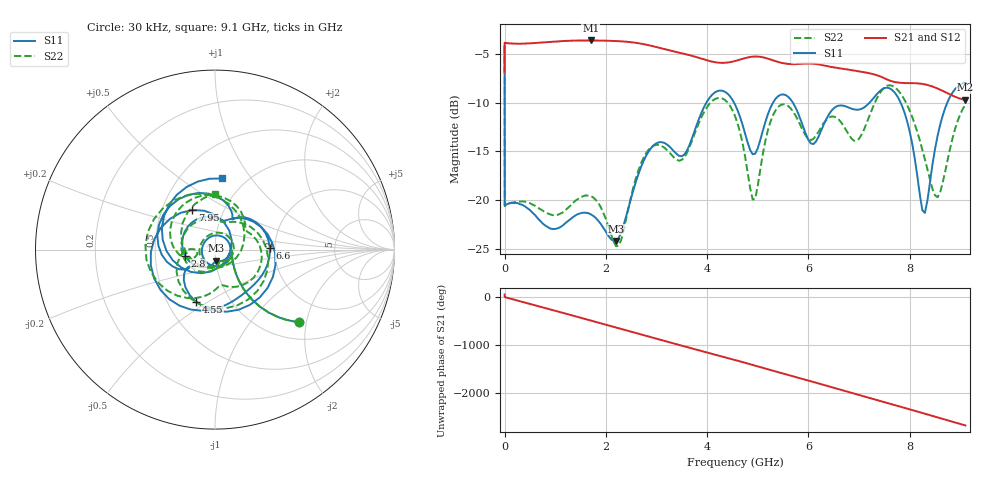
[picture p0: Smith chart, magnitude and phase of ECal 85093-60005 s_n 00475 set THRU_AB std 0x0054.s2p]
!Created with skrf (http://scikit-rf.org).
# Hz S RI R 50.0
!freq ReS11 ImS11 ReS21 ImS21 ReS12 ImS12 ReS22 ImS22
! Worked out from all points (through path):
!   252 points, 30 kHz to 9.1 GHz, reference 50 ohm
!   highest |S21| = -3.62 dB at 1.7 GHz (marker M1); lowest = -9.7 dB at 9.1 GHz (marker M2)
!   group delay of S21, straight-line fit = 818 ps
!   lowest |S11| = -24.2 dB at 2.2 GHz (marker M3), VSWR 1.13, Z = 50 - j6.2 ohm
!   |S11| at or under -10 dB: 79.85 kHz to 3.985 GHz (3.985 GHz wide, 200 % of centre); 5.694 GHz to 7.206 GHz (1.512 GHz wide, 23.4 % of centre); 7.821 GHz to 8.742 GHz (921.7 MHz wide, 11.1 % of centre) (the widest 3 of 4)
!   |S22| runs from -24.7 to -4.2 dB; largest |S21 - S12| = 0.0032
!   S11 on the Smith chart (normalised r, x): 30 kHz: 1.39, -1.81; 2.8 GHz: 0.71, -0.05; 4.55 GHz: 0.69, -0.45; 6.6 GHz: 1.88, +0.04; 7.95 GHz: 0.71, +0.34; 9.1 GHz: 0.78, +0.73
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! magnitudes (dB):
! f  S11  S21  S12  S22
! 30 kHz  -4.2  -6.8  -6.8  -4.2
! 175 kHz  -15.3  -4.0  -4.0  -15.3
! 475 kHz  -19.3  -3.9  -3.9  -19.4
! 3.5 MHz  -20.5  -3.9  -3.9  -20.6
! 1.55 GHz  -21.3  -3.6  -3.6  -19.6
! 1.7 GHz  -21.4  -3.6  -3.6  -19.6
! 2.2 GHz  -24.2  -3.7  -3.7  -24.7
! 2.8 GHz  -15.4  -4.1  -4.0  -15.1
! 3.05 GHz  -14.1  -4.4  -4.3  -14.3
! 3.5 GHz  -15.5  -4.9  -4.9  -15.9
! 4.55 GHz  -10.2  -5.7  -5.7  -11.4
! 4.6 GHz  -10.8  -5.7  -5.6  -12.1
! 4.9 GHz  -15.3  -5.3  -5.3  -19.9
! 5.4 GHz  -9.3  -5.8  -5.8  -10.4
! 6.1 GHz  -14.2  -6.0  -6.0  -13.7
! 6.6 GHz  -10.3  -6.5  -6.4  -11.7
! 6.95 GHz  -10.7  -6.7  -6.7  -13.9
! 7.6 GHz  -8.5  -7.7  -7.7  -8.2
! 7.95 GHz  -11.9  -8.0  -8.0  -10.2
! 8.3 GHz  -21.3  -8.1  -8.1  -15.8
! 8.55 GHz  -13.4  -8.5  -8.5  -19.7
! 9.1 GHz  -8.0  -9.7  -9.7  -10.2
